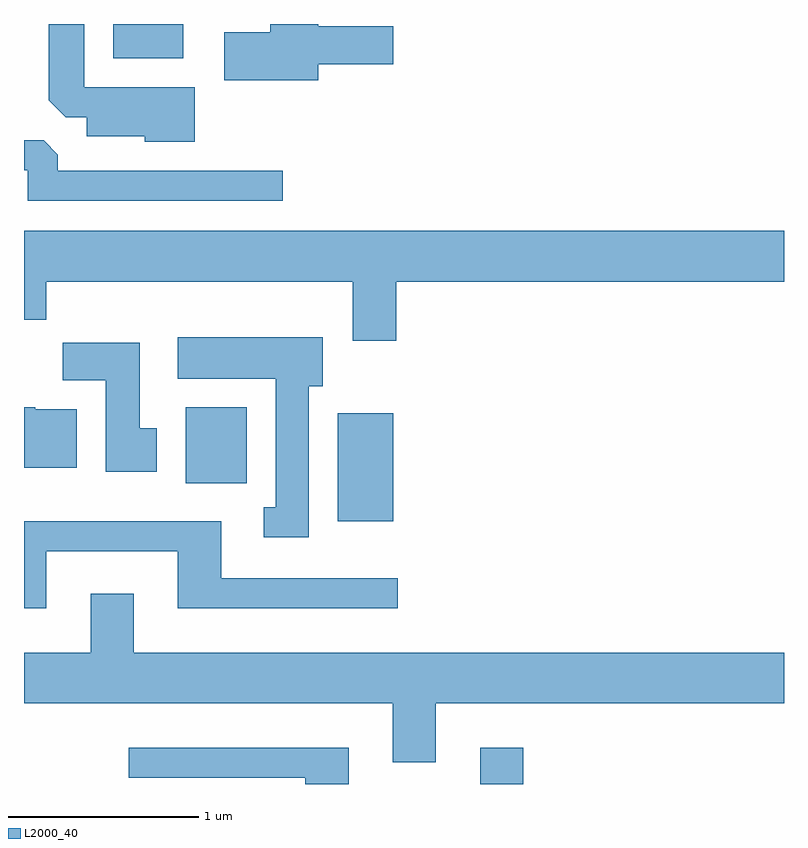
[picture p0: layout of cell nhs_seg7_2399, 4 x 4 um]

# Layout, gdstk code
import gdstk
lib = gdstk.Library(unit=1e-6, precision=1e-09)
def R(c, l, rs):  # rectangles x0, y0, x1, y1
    for r in rs: c.add(gdstk.rectangle(r[:2], r[2:], *l))
def P(c, l, *ps):  # polygons
    for p in ps: c.add(gdstk.Polygon(p, *l))
L2000_40 = (2000, 40)

nhs_seg7_2399 = lib.new_cell('nhs_seg7_2399')
R(nhs_seg7_2399, L2000_40, [(260.011,1798.252,260.239,1798.444), (259.261,1799.636,259.554,1800.204), (258.461,1799.836,258.784,1800.234), (258.081,1802.071,258.449,1802.252)])
P(nhs_seg7_2399, L2000_40, [(258.509,1801.919),(257.929,1801.919),(257.929,1802.252),(257.741,1802.252),(257.741,1801.852),(257.832,1801.761),(257.941,1801.761),(257.941,1801.661),(258.246,1801.661),(258.246,1801.631),(258.509,1801.631)],
  [(259.159,1802.041),(259.554,1802.041),(259.554,1802.239),(259.159,1802.239),(259.159,1802.252),(258.906,1802.252),(258.906,1802.209),(258.666,1802.209),(258.666,1801.956),(259.159,1801.956)],
  [(258.973,1801.479),(257.789,1801.479),(257.789,1801.564),(257.714,1801.639),(257.611,1801.639),(257.611,1801.481),(257.631,1801.481),(257.631,1801.321),(258.973,1801.321)],
  [(259.569,1800.896),(261.611,1800.896),(261.611,1801.164),(257.611,1801.164),(257.611,1800.696),(257.729,1800.696),(257.729,1800.896),(259.341,1800.896),(259.341,1800.586),(259.569,1800.586)],
  [(259.109,1800.346),(259.184,1800.346),(259.184,1800.604),(258.421,1800.604),(258.421,1800.386),(258.936,1800.386),(258.936,1799.709),(258.873,1799.709),(258.873,1799.551),(259.109,1799.551)],
  [(258.309,1800.124),(258.219,1800.124),(258.219,1800.574),(257.816,1800.574),(257.816,1800.376),(258.041,1800.376),(258.041,1799.896),(258.309,1799.896)],
  [(257.889,1800.224),(257.67,1800.224),(257.67,1800.234),(257.611,1800.234),(257.611,1799.916),(257.889,1799.916)],
  [(257.729,1799.476),(258.421,1799.476),(258.421,1799.176),(259.578,1799.176),(259.578,1799.334),(258.649,1799.334),(258.649,1799.634),(257.611,1799.634),(257.611,1799.176),(257.729,1799.176)],
  [(259.779,1798.676),(261.611,1798.676),(261.611,1798.944),(258.189,1798.944),(258.189,1799.254),(257.961,1799.254),(257.961,1798.944),(257.611,1798.944),(257.611,1798.676),(259.551,1798.676),(259.551,1798.366),(259.779,1798.366)],
  [(259.319,1798.444),(258.163,1798.444),(258.163,1798.286),(259.091,1798.286),(259.091,1798.252),(259.319,1798.252)])

lib.write_gds('nhs_seg7_2399.gds')
